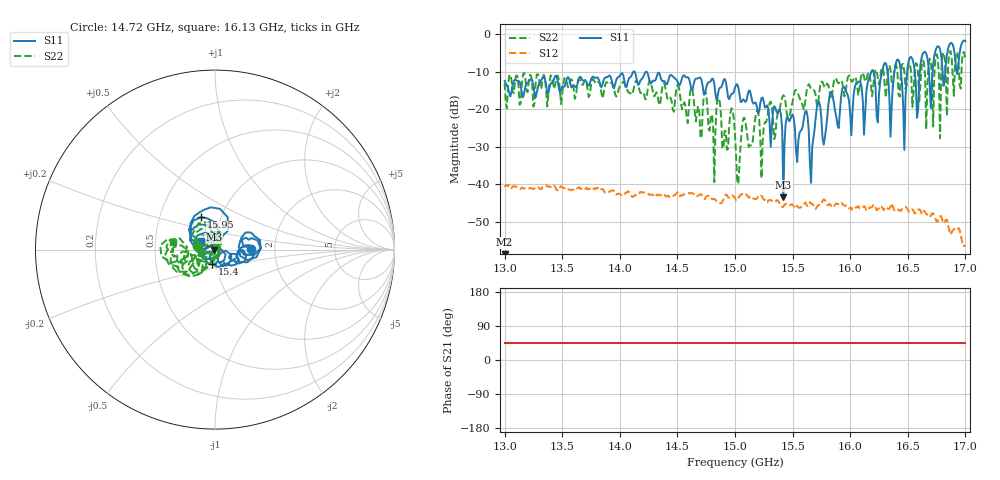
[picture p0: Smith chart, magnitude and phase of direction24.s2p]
!Keysight Technologies,P9374A,MY57211810,A.19.30.04
!Date: Friday, May 02, 2025 09:02:34
!Correction: S11(Off)
!S21(Off)
!S12(Off)
!S22(Off)
!S2P File: Measurements: S11, S21, S12, S22:
# Hz S  dB  R 50
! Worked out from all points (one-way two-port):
!   401 points, 13 GHz to 17 GHz, reference 50 ohm
!   highest |S21| = - dB at 13 GHz (marker M1); lowest = - dB at 13 GHz (marker M2)
!   lowest |S11| = -43.4 dB at 15.42 GHz (marker M3), VSWR 1.01, Z = 49.3 - j0.0396 ohm
!   |S11| at or under -10 dB: start of sweep to 14.12 GHz; 14.13 GHz to 14.23 GHz (97 MHz wide, 0.684 % of centre); 14.23 GHz to 16.18 GHz (1.951 GHz wide, 12.8 % of centre) (the widest 3 of 10)
!   |S22| runs from -39.8 to -4.4 dB; largest |S21 - S12| = 0.0099
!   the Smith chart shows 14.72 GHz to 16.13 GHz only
!   S11 on the Smith chart (normalised r, x): 14.72 GHz: 1.50, +0.01; 15.4 GHz: 0.96, -0.16; 15.95 GHz: 0.81, +0.30; 16.13 GHz: 0.85, +0.08
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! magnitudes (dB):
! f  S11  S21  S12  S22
! 13 GHz  -12.4  -  -40.7  -13.0
! 13.67 GHz  -11.9  -  -41.2  -13.3
! 14.34 GHz  -10.2  -  -42.9  -18.8
! 14.72 GHz  -13.9  -  -43.2  -19.7
! 15 GHz  -14.2  -  -43.6  -26.8
! 15.4 GHz  -21.6  -  -45.8  -17.9
! 15.42 GHz  -43.4  -  -46.0  -16.2
! 15.61 GHz  -20.6  -  -44.8  -17.8
! 15.67 GHz  -30.1  -  -45.1  -15.0
! 15.72 GHz  -18.2  -  -45.5  -19.0
! 15.78 GHz  -27.5  -  -44.2  -14.2
! 15.95 GHz  -14.2  -  -45.6  -16.6
! 16.13 GHz  -20.8  -  -46.0  -12.6
! 16.3 GHz  -7.6  -  -46.3  -13.9
! 16.34 GHz  -16.9  -  -46.5  -8.3
! 16.41 GHz  -6.7  -  -46.9  -10.2
! 16.47 GHz  -30.8  -  -46.1  -10.0
! 16.52 GHz  -6.1  -  -47.3  -7.9
! 16.58 GHz  -22.3  -  -47.0  -7.9
! 16.64 GHz  -4.7  -  -47.0  -7.5
! 16.7 GHz  -19.7  -  -48.3  -7.2
! 17 GHz  -1.9  -  -56.1  -6.8
